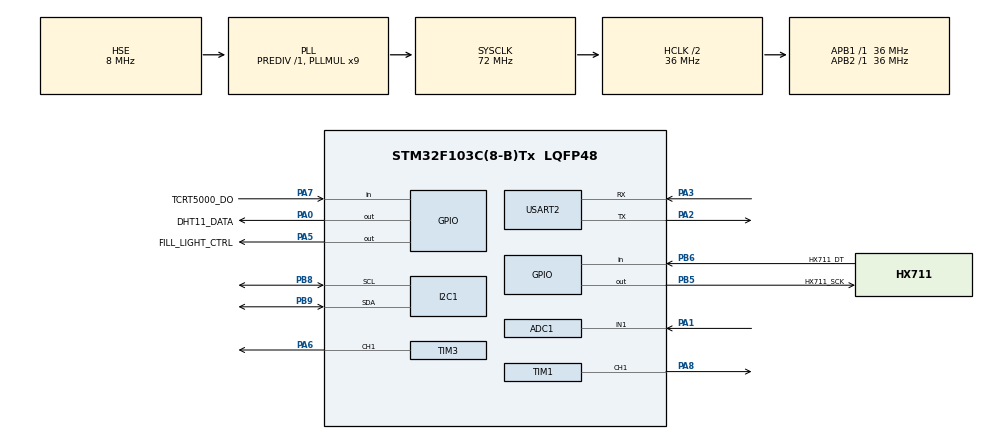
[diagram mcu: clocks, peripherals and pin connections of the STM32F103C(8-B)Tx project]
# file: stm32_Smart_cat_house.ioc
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ADC1.Channel-0\#ChannelRegularConversion=ADC_CHANNEL_1
ADC1.NbrOfConversionFlag=1
ADC1.Rank-0\#ChannelRegularConversion=1
ADC1.SamplingTime-0\#ChannelRegularConversion=ADC_SAMPLETIME_239CYCLES_5
ADC1.master=1
Mcu.Family=STM32F1
Mcu.Name=STM32F103C(8-B)Tx
Mcu.Package=LQFP48
NVIC.PriorityGroup=NVIC_PRIORITYGROUP_4
NVIC.USART2_IRQn=true\:0\:0\:false\:false\:true\:true\:true\:true
PA0-WKUP.GPIO_Label=DHT11_DATA
PA0-WKUP.GPIO_ModeDefaultOutputPP=GPIO_MODE_OUTPUT_OD
PA0-WKUP.GPIO_PuPd=GPIO_NOPULL
PA0-WKUP.PinState=GPIO_PIN_SET
PA0-WKUP.Signal=GPIO_Output
PA1.Signal=ADCx_IN1
PA13.Mode=Serial_Wire
PA13.Signal=SYS_JTMS-SWDIO
PA14.Mode=Serial_Wire
PA14.Signal=SYS_JTCK-SWCLK
PA2.Mode=Asynchronous
PA2.Signal=USART2_TX
PA3.Mode=Asynchronous
PA3.Signal=USART2_RX
PA5.GPIO_Label=FILL_LIGHT_CTRL
PA5.Signal=GPIO_Output
PA6.Signal=S_TIM3_CH1
PA7.GPIO_Label=TCRT5000_DO
PA7.GPIO_PuPd=GPIO_PULLUP
PA7.Signal=GPIO_Input
PA8.Signal=S_TIM1_CH1
PB5.GPIO_Label=HX711_SCK
PB5.Signal=GPIO_Output
PB6.GPIO_Label=HX711_DT
PB6.Signal=GPIO_Input
PB8.Mode=I2C
PB8.Signal=I2C1_SCL
PB9.Mode=I2C
PB9.Signal=I2C1_SDA
PD0-OSC_IN.Mode=HSE-External-Oscillator
PD0-OSC_IN.Signal=RCC_OSC_IN
PD1-OSC_OUT.Mode=HSE-External-Oscillator
PD1-OSC_OUT.Signal=RCC_OSC_OUT
ProjectManager.HeapSize=0x200
ProjectManager.StackSize=0x400
ProjectManager.TargetToolchain=MDK-ARM V5.32
RCC.ADCPresc=RCC_ADCPCLK2_DIV4
RCC.AHBCLKDivider=RCC_SYSCLK_DIV2
RCC.AHBFreq_Value=36000000
RCC.APB1Freq_Value=36000000
RCC.APB1TimFreq_Value=36000000
RCC.APB2Freq_Value=36000000
RCC.APB2TimFreq_Value=36000000
RCC.HCLKFreq_Value=36000000
RCC.PLLMUL=RCC_PLL_MUL9
RCC.PLLSourceVirtual=RCC_PLLSOURCE_HSE
RCC.SYSCLKFreq_VALUE=72000000
RCC.SYSCLKSource=RCC_SYSCLKSOURCE_PLLCLK
RCC.USBFreq_Value=72000000
SH.ADCx_IN1.0=ADC1_IN1,IN1
SH.S_TIM1_CH1.0=TIM1_CH1,PWM Generation1 CH1
SH.S_TIM3_CH1.0=TIM3_CH1,PWM Generation1 CH1
TIM1.Channel-PWM\ Generation1\ CH1=TIM_CHANNEL_1
TIM1.Period=19999
TIM1.Prescaler=35
TIM1.Pulse-PWM\ Generation1\ CH1=1500
TIM3.Channel-PWM\ Generation1\ CH1=TIM_CHANNEL_1
TIM3.Period=369
TIM3.Prescaler=35
USART2.VirtualMode=VM_ASYNC
VP_TIM1_VS_ClockSourceINT.Mode=Internal
VP_TIM3_VS_ClockSourceINT.Mode=Internal
board=custom

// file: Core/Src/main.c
/* USER CODE BEGIN Header */
/**
 ******************************************************************************
 * @file           : main.c
 * @brief          : Main program body
 ******************************************************************************
 * @attention
 *
 * Copyright (c) 2026 STMicroelectronics.
 * All rights reserved.
 *
 * This software is licensed under terms that can be found in the LICENSE file
 * in the root directory of this software component.
 * If no LICENSE file comes with this software, it is provided AS-IS.
 *
 ******************************************************************************
 */
/* USER CODE END Header */
#include "main.h"
#include "adc.h"
#include "i2c.h"
#include "tim.h"
#include "usart.h"
#include "gpio.h"

/* USER CODE BEGIN Includes */
#include "HX711.h"
#include "DHT11.h"
#include "Servo.h"
#include "TCRT5000.h"
#include "LightSensor.h"
#include "FillLight.h"
#include "Buzzer.h"
#include "ESP8266.h"
#include "oled.h"
#include <stdio.h> //sprintf,把整数转换成可以显示的字符串

/* USER CODE END Includes */

/* USER CODE BEGIN PTD */
typedef enum
{
  FEEDER_STATE_IDLE = 0,
  FEEDER_STATE_DISPENSING,
  FEEDER_STATE_SETTLING,
  FEEDER_STATE_COOLDOWN
} Feeder_State;

/* USER CODE END PTD */

/* USER CODE BEGIN PD */
#define HX711_READ_TIMEOUT_MS 1000U
#define HX711_AVERAGE_SAMPLES 10U
#define HX711_WARMUP_MS        5000U
#define HX711_CALIBRATION_MODE    0U
#define FEEDER_BOWL_TARE_G        250
#define FEEDER_LOW_WEIGHT_G       20
#define FEEDER_TARGET_WEIGHT_G    60
#define FEEDER_OPEN_TIME_MS       1000U
#define FEEDER_SETTLE_TIME_MS     2000U
#define FEEDER_COOLDOWN_TIME_MS   600000U
#define FEEDER_MAX_PORTIONS       5U
#define LIGHT_SENSOR_READ_INTERVAL_MS 500U
#define LIGHT_SENSOR_SAMPLES          16U
#define LIGHT_SENSOR_TIMEOUT_MS       10U
#define WIFI_AP_SSID                  "SmartCatHouse"
#define WIFI_AP_PASSWORD              "12345678"
/* USER CODE END PD */

/* USER CODE BEGIN PV */
volatile int32_t HX711_average = 0;
int32_t HX711_new_average = 0;
volatile int32_t HX711_previous_average = 0;
volatile int32_t HX711_difference = 0;
int32_t HX711_offset = 0;
volatile int32_t HX711_net = 0;
volatile int32_t HX711_total_weight_gram = 0;
volatile int32_t HX711_weight_gram = 0;
volatile HX711_Status HX711_status = HX711_STATUS_BAD_ARGUMENT;
volatile uint8_t OLED_ok = 0; // 定义oled状态
char OLED_text[24];
volatile uint32_t HX711_read_count = 0;
volatile uint8_t HX711_tared = 0;
uint32_t HX711_warmup_start = 0;
int32_t HX711_warmup_raw = 0;
uint8_t DHT11_temperature = 0;
uint8_t DHT11_humidity = 0;
volatile DHT11_Status DHT11_status = DHT11_STATUS_BAD_ARGUMENT;
uint32_t DHT11_last_read_tick = 0;
volatile Servo_Status Servo_status = SERVO_STATUS_HAL_ERROR;
volatile uint8_t Servo_angle = 0U;
volatile GPIO_PinState TCRT5000_raw = GPIO_PIN_SET;
volatile uint8_t TCRT5000_detected = 0U;
volatile Feeder_State Feeder_state = FEEDER_STATE_IDLE;
volatile uint8_t Feeder_portions = 0U;
uint8_t Feeder_has_fed = 0U;
uint32_t Feeder_state_tick = 0U;
uint32_t Feeder_last_finish_tick = 0U;
volatile LightSensor_Status LightSensor_status =
    LIGHT_SENSOR_STATUS_BAD_ARGUMENT;
volatile uint16_t LightSensor_raw = 0U;
uint16_t LightSensor_new_raw = 0U;
volatile uint8_t LightSensor_percent = 0U;
uint32_t LightSensor_last_read_tick = 0U;
volatile uint8_t FillLight_on = 0U;
volatile Buzzer_Status Buzzer_status = BUZZER_STATUS_HAL_ERROR;
volatile ESP8266_Status ESP8266_status = ESP8266_STATUS_TIMEOUT;
volatile ESP8266_Status ESP8266_wifi_status = ESP8266_STATUS_TIMEOUT;
volatile ESP8266_Status ESP8266_server_status = ESP8266_STATUS_TIMEOUT;
volatile ESP8266_Status ESP8266_http_status = ESP8266_STATUS_TIMEOUT;
volatile uint32_t ESP8266_http_request_count = 0U;
uint8_t ESP8266_connection_id = 0U;

/* USER CODE END PV */

void SystemClock_Config(void);

int main(void)
{

  /* MCU Configuration--------------------------------------------------------*/

  /* Reset of all peripherals, Initializes the Flash interface and the Systick. */
  HAL_Init();

  /* Configure the system clock */
  SystemClock_Config();

  /* Initialize all configured peripherals */
  MX_GPIO_Init();
  MX_I2C1_Init();
  MX_TIM1_Init();
  MX_ADC1_Init();
  MX_TIM3_Init();
  MX_USART2_UART_Init();
  /* USER CODE BEGIN 2 */
  OLED_ok = OLED_Init();
  HX711_Init();
  DHT11_Init();
  Servo_status = Servo_Init();
  Servo_angle = Servo_GetAngle();
  TCRT5000_Init();
  LightSensor_status = LightSensor_Init();
  FillLight_Init();
  Buzzer_status = Buzzer_Init();
  if (Buzzer_status == BUZZER_STATUS_OK)
  {
    Buzzer_Beep(200U);
  }
  HAL_Delay(1500U);
  ESP8266_status = ESP8266_TestAT(1500U);
  if (ESP8266_status != ESP8266_STATUS_OK)
  {
    HAL_Delay(500U);
    ESP8266_status = ESP8266_TestAT(1500U);
  }
  if (ESP8266_status == ESP8266_STATUS_OK)
  {
    ESP8266_wifi_status = ESP8266_StartAccessPoint(
        WIFI_AP_SSID, WIFI_AP_PASSWORD, 5000U);
  }

  if (OLED_ok)
  {
    OLED_Clear();
    OLED_ShowString(0, 0, "ESP8266 AT TEST", 16);
    if (ESP8266_status != ESP8266_STATUS_OK)
    {
      snprintf(OLED_text, sizeof(OLED_text),
               "AT ERR:%u", (unsigned int)ESP8266_status);
      OLED_ShowString(0, 20, OLED_text, 16);
    }
    else if (ESP8266_wifi_status == ESP8266_STATUS_OK)
    {
      OLED_ShowString(0, 20, "AP:READY", 16);
    }
    else
    {
      snprintf(OLED_text, sizeof(OLED_text),
               "WIFI ERR:%u", (unsigned int)ESP8266_wifi_status);
      OLED_ShowString(0, 20, OLED_text, 16);
    }
    OLED_Refresh();
    HAL_Delay(1000U);
  }

  if (OLED_ok)
  {
    OLED_Clear();
    OLED_ShowString(0, 0, "HX711 HAL TEST", 16);
    OLED_ShowString(0, 20, "REMOVE BOWL", 16);
    OLED_ShowString(0, 40, "WARMING...", 16);
    OLED_Refresh();
  }

  /* Keep the HX711 converting before capturing the empty-scale zero point. */
  HX711_warmup_start = HAL_GetTick();
  while ((HAL_GetTick() - HX711_warmup_start) < HX711_WARMUP_MS)
  {
    HX711_status = HX711_ReadRaw(&HX711_warmup_raw,
                                 HX711_READ_TIMEOUT_MS);
  }

  if (OLED_ok)
  {
    OLED_Clear();
    OLED_ShowString(0, 0, "HX711 HAL TEST", 16);
    OLED_ShowString(0, 20, "REMOVE BOWL", 16);
    OLED_ShowString(0, 40, "TARING...", 16);
    OLED_Refresh();
  }

  HX711_status = HX711_Tare(&HX711_offset,
                            HX711_AVERAGE_SAMPLES,
                            HX711_READ_TIMEOUT_MS);
  if (HX711_status == HX711_STATUS_OK)
  {
    HX711_tared = 1U;
  }

  /* Start the web server only after the blocking HX711 warm-up is finished. */
  if (ESP8266_wifi_status == ESP8266_STATUS_OK)
  {
    ESP8266_server_status = ESP8266_StartTcpServer(80U, 3000U);
    if (ESP8266_server_status == ESP8266_STATUS_OK)
    {
      ESP8266_server_status = ESP8266_StartInterruptReceive();
    }
  }

  if (OLED_ok && (ESP8266_server_status == ESP8266_STATUS_OK))
  {
    OLED_Clear();
    OLED_ShowString(0, 20, "WEB:READY", 16);
    OLED_Refresh();
    HAL_Delay(500U);
  }

  /* USER CODE END 2 */

  /* Infinite loop */
  /* USER CODE BEGIN WHILE */
  while (1)
  {
    if ((ESP8266_server_status == ESP8266_STATUS_OK) &&
        (ESP8266_PollHttpRequest(&ESP8266_connection_id) != 0U))
    {
      ESP8266_http_status = ESP8266_SendHttpResponse(
          ESP8266_connection_id,
          "<h1>Smart Cat House Online</h1>",
          3000U);
      ESP8266_http_request_count++;
    }

    TCRT5000_Update();
    TCRT5000_raw = TCRT5000_GetRawLevel();
    TCRT5000_detected = TCRT5000_IsDetected();

    if ((HAL_GetTick() - LightSensor_last_read_tick) >=
        LIGHT_SENSOR_READ_INTERVAL_MS)
    {
      LightSensor_last_read_tick = HAL_GetTick();
      LightSensor_status = LightSensor_ReadAverage(
          &LightSensor_new_raw,
          LIGHT_SENSOR_SAMPLES,
          LIGHT_SENSOR_TIMEOUT_MS);
      if (LightSensor_status == LIGHT_SENSOR_STATUS_OK)
      {
        LightSensor_raw = LightSensor_new_raw;
        LightSensor_percent = LightSensor_RawToPercent(LightSensor_raw);
        FillLight_AutoUpdate(LightSensor_percent);
        FillLight_on = FillLight_IsOn();
      }
    }

    if (HX711_tared != 0U)
    {
      HX711_status = HX711_ReadAverage(&HX711_new_average,
                                       HX711_AVERAGE_SAMPLES,
                                       HX711_READ_TIMEOUT_MS);
      if (HX711_status == HX711_STATUS_OK)
      {
        if (HX711_read_count == 0U)
        {
          HX711_previous_average = HX711_new_average;
        }

        HX711_average = HX711_new_average;
        HX711_difference = HX711_average - HX711_previous_average;
        HX711_previous_average = HX711_average;
        HX711_net = HX711_GetNetValue(HX711_average, HX711_offset);
        HX711_total_weight_gram = HX711_GetWeightGram(HX711_net);
        if (HX711_CALIBRATION_MODE != 0U)
        {
          HX711_weight_gram = HX711_total_weight_gram;
        }
        else
        {
          HX711_weight_gram = HX711_total_weight_gram - FEEDER_BOWL_TARE_G;
        }
        if (HX711_weight_gram < 0)
        {
          HX711_weight_gram = 0;
        }
        HX711_read_count++;
      }
    }

    /*
     * Feed only when a pet is present and the remaining food is low.
     * Each opening dispenses one small portion. The bowl is weighed again
     * after the food has settled, so unfinished food does not trigger a refill.
     */
    if ((HX711_CALIBRATION_MODE == 0U) &&
        (Servo_status == SERVO_STATUS_OK) &&
        (HX711_status == HX711_STATUS_OK) &&
        (HX711_tared != 0U))
    {
      if (Feeder_state == FEEDER_STATE_IDLE)
      {
        if ((TCRT5000_detected != 0U) &&
            (HX711_weight_gram < FEEDER_LOW_WEIGHT_G) &&
            ((Feeder_has_fed == 0U) ||
             ((HAL_GetTick() - Feeder_last_finish_tick) >=
              FEEDER_COOLDOWN_TIME_MS)))
        {
          Servo_status = Servo_OpenFeeder();
          Servo_angle = Servo_GetAngle();
          if (Servo_status == SERVO_STATUS_OK)
          {
            Feeder_portions = 1U;
            Feeder_state = FEEDER_STATE_DISPENSING;
            Feeder_state_tick = HAL_GetTick();
          }
        }
      }
      else if (Feeder_state == FEEDER_STATE_DISPENSING)
      {
        if ((HAL_GetTick() - Feeder_state_tick) >= FEEDER_OPEN_TIME_MS)
        {
          Servo_status = Servo_CloseFeeder();
          Servo_angle = Servo_GetAngle();
          if (Servo_status == SERVO_STATUS_OK)
          {
            Feeder_state = FEEDER_STATE_SETTLING;
            Feeder_state_tick = HAL_GetTick();
          }
        }
      }
      else if (Feeder_state == FEEDER_STATE_SETTLING)
      {
        if ((HAL_GetTick() - Feeder_state_tick) >= FEEDER_SETTLE_TIME_MS)
        {
          if ((TCRT5000_detected != 0U) &&
              (HX711_weight_gram < FEEDER_TARGET_WEIGHT_G) &&
              (Feeder_portions < FEEDER_MAX_PORTIONS))
          {
            Servo_status = Servo_OpenFeeder();
            Servo_angle = Servo_GetAngle();
            if (Servo_status == SERVO_STATUS_OK)
            {
              Feeder_portions++;
              Feeder_state = FEEDER_STATE_DISPENSING;
              Feeder_state_tick = HAL_GetTick();
            }
          }
          else
          {
            Feeder_state = FEEDER_STATE_COOLDOWN;
            Feeder_last_finish_tick = HAL_GetTick();
            Feeder_has_fed = 1U;
          }
        }
      }
      else if (Feeder_state == FEEDER_STATE_COOLDOWN)
      {
        if ((HAL_GetTick() - Feeder_last_finish_tick) >=
            FEEDER_COOLDOWN_TIME_MS)
        {
          Feeder_state = FEEDER_STATE_IDLE;
          Feeder_portions = 0U;
        }
      }
      else
      {
        Feeder_state = FEEDER_STATE_IDLE;
      }
    }

    if ((HAL_GetTick() - DHT11_last_read_tick) >= 2000U)
    {
      DHT11_last_read_tick = HAL_GetTick();
      DHT11_status = DHT11_Read(&DHT11_temperature, &DHT11_humidity);
    }

    if (OLED_ok)
    {
      OLED_Clear();

#if HX711_CALIBRATION_MODE
      if (HX711_status == HX711_STATUS_OK)
      {
        snprintf(OLED_text, sizeof(OLED_text),
                 "N:%ld", (long)HX711_net);
        OLED_ShowString(0, 0, OLED_text, 16);

        snprintf(OLED_text, sizeof(OLED_text),
                 "W:%ldg", (long)HX711_total_weight_gram);
        OLED_ShowString(0, 20, OLED_text, 16);

        snprintf(OLED_text, sizeof(OLED_text),
                 "D:%ld", (long)HX711_difference);
        OLED_ShowString(0, 40, OLED_text, 16);
      }
      else
      {
        OLED_ShowString(0, 20, "HX711 ERROR", 16);
      }
#else
      snprintf(OLED_text, sizeof(OLED_text),
               "PET:%s",
               (TCRT5000_detected != 0U) ? "YES" : "NO");
      OLED_ShowString(0, 0, OLED_text, 16);

      if (HX711_status == HX711_STATUS_OK)
      {
        snprintf(OLED_text, sizeof(OLED_text),
                 "FOOD:%ldg", (long)HX711_weight_gram);
      }
      else
      {
        snprintf(OLED_text, sizeof(OLED_text), "FOOD:ERR");
      }
      OLED_ShowString(0, 16, OLED_text, 16);

      if (DHT11_status == DHT11_STATUS_OK)
      {
        snprintf(OLED_text, sizeof(OLED_text),
                 "T:%uC H:%u%%",
                 (unsigned int)DHT11_temperature,
                 (unsigned int)DHT11_humidity);
      }
      else
      {
        snprintf(OLED_text, sizeof(OLED_text), "T:ERR H:ERR");
      }
      OLED_ShowString(0, 32, OLED_text, 16);

      if (LightSensor_status == LIGHT_SENSOR_STATUS_OK)
      {
        snprintf(OLED_text, sizeof(OLED_text),
                 "LIGHT:%u%%", (unsigned int)LightSensor_percent);
      }
      else
      {
        snprintf(OLED_text, sizeof(OLED_text), "LIGHT:ERR");
      }
      OLED_ShowString(0, 48, OLED_text, 16);
#endif

      OLED_Refresh();
    }

    HAL_Delay(100);

    /* USER CODE END WHILE */

}
}

void SystemClock_Config(void)
{
  RCC_OscInitTypeDef RCC_OscInitStruct = {0};
  RCC_ClkInitTypeDef RCC_ClkInitStruct = {0};
  RCC_PeriphCLKInitTypeDef PeriphClkInit = {0};

  /** Initializes the RCC Oscillators according to the specified parameters
  * in the RCC_OscInitTypeDef structure.
  */
  RCC_OscInitStruct.OscillatorType = RCC_OSCILLATORTYPE_HSE;
  RCC_OscInitStruct.HSEState = RCC_HSE_ON;
  RCC_OscInitStruct.HSEPredivValue = RCC_HSE_PREDIV_DIV1;
  RCC_OscInitStruct.HSIState = RCC_HSI_ON;
  RCC_OscInitStruct.PLL.PLLState = RCC_PLL_ON;
  RCC_OscInitStruct.PLL.PLLSource = RCC_PLLSOURCE_HSE;
  RCC_OscInitStruct.PLL.PLLMUL = RCC_PLL_MUL9;
  if (HAL_RCC_OscConfig(&RCC_OscInitStruct) != HAL_OK)
  {
    Error_Handler();
  }

  /** Initializes the CPU, AHB and APB buses clocks
  */
  RCC_ClkInitStruct.ClockType = RCC_CLOCKTYPE_HCLK|RCC_CLOCKTYPE_SYSCLK
                              |RCC_CLOCKTYPE_PCLK1|RCC_CLOCKTYPE_PCLK2;
  RCC_ClkInitStruct.SYSCLKSource = RCC_SYSCLKSOURCE_PLLCLK;
  RCC_ClkInitStruct.AHBCLKDivider = RCC_SYSCLK_DIV2;
  RCC_ClkInitStruct.APB1CLKDivider = RCC_HCLK_DIV1;
  RCC_ClkInitStruct.APB2CLKDivider = RCC_HCLK_DIV1;

  if (HAL_RCC_ClockConfig(&RCC_ClkInitStruct, FLASH_LATENCY_2) != HAL_OK)
  {
    Error_Handler();
  }
  PeriphClkInit.PeriphClockSelection = RCC_PERIPHCLK_ADC;
  PeriphClkInit.AdcClockSelection = RCC_ADCPCLK2_DIV4;
  if (HAL_RCCEx_PeriphCLKConfig(&PeriphClkInit) != HAL_OK)
  {
    Error_Handler();
  }
}

void Error_Handler(void)
{
  __disable_irq();
  while (1)
  {
  }
}
